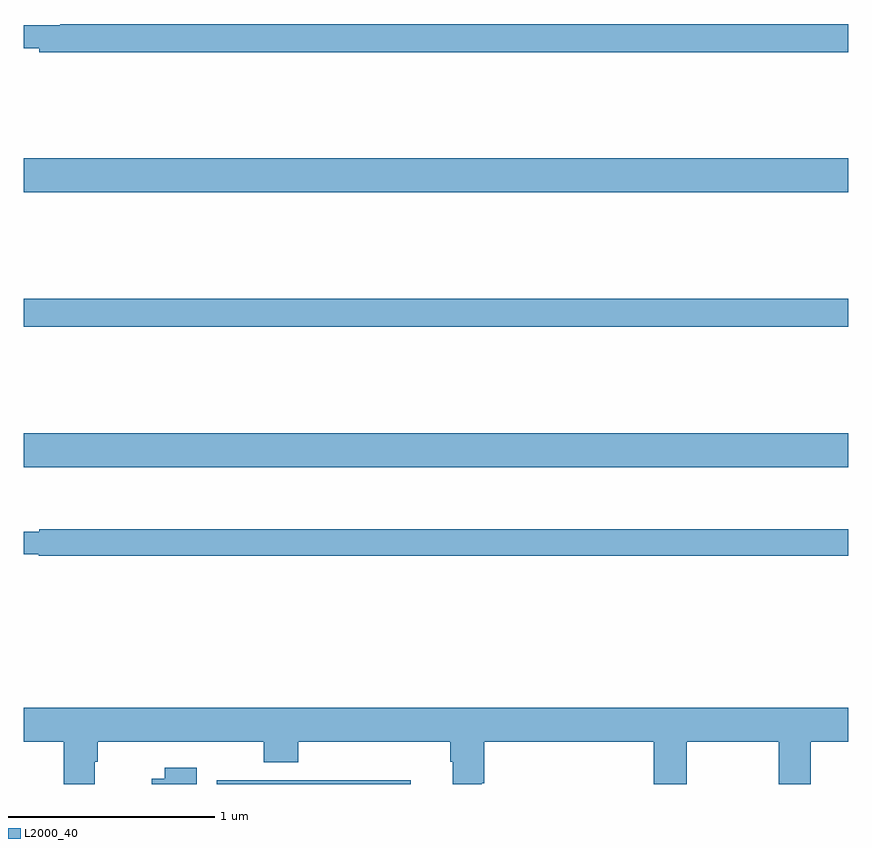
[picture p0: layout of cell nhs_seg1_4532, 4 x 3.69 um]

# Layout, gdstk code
import gdstk
lib = gdstk.Library(unit=1e-6, precision=1e-09)
def R(c, l, rs):  # rectangles x0, y0, x1, y1
    for r in rs: c.add(gdstk.rectangle(r[:2], r[2:], *l))
def P(c, l, *ps):  # polygons
    for p in ps: c.add(gdstk.Polygon(p, *l))
L2000_40 = (2000, 40)

nhs_seg1_4532 = lib.new_cell('nhs_seg1_4532')
R(nhs_seg1_4532, L2000_40, [(357,547.736,361,547.9), (357,548.416,361,548.552), (357,549.068,361,549.232)])
P(nhs_seg1_4532, L2000_40, [(361,549.884),(357.179,549.884),(357.179,549.877),(357,549.877),(357,549.767),(357.076,549.767),(357.076,549.748),(361,549.748)],
  [(361,547.435),(357.076,547.435),(357.076,547.422),(357,547.422),(357,547.314),(357.074,547.314),(357.074,547.306),(361,547.306)],
  [(357.346,546.306),(357.359,546.306),(357.359,546.404),(358.166,546.404),(358.166,546.305),(358.331,546.305),(358.331,546.404),(359.069,546.404),(359.069,546.308),(359.081,546.308),(359.081,546.199),(359.221,546.199),(359.221,546.202),(359.234,546.202),(359.234,546.404),(360.056,546.404),(360.056,546.199),(360.216,546.199),(360.216,546.404),(360.661,546.404),(360.661,546.199),(360.816,546.199),(360.816,546.404),(361,546.404),(361,546.568),(357,546.568),(357,546.404),(357.194,546.404),(357.194,546.199),(357.346,546.199)],
  [(357.841,546.277),(357.685,546.277),(357.685,546.225),(357.622,546.225),(357.622,546.199),(357.841,546.199)],
  [(358.877,546.218),(358.414,546.218),(358.414,546.216),(357.936,546.216),(357.936,546.199),(358.877,546.199)])

lib.write_gds('nhs_seg1_4532.gds')
